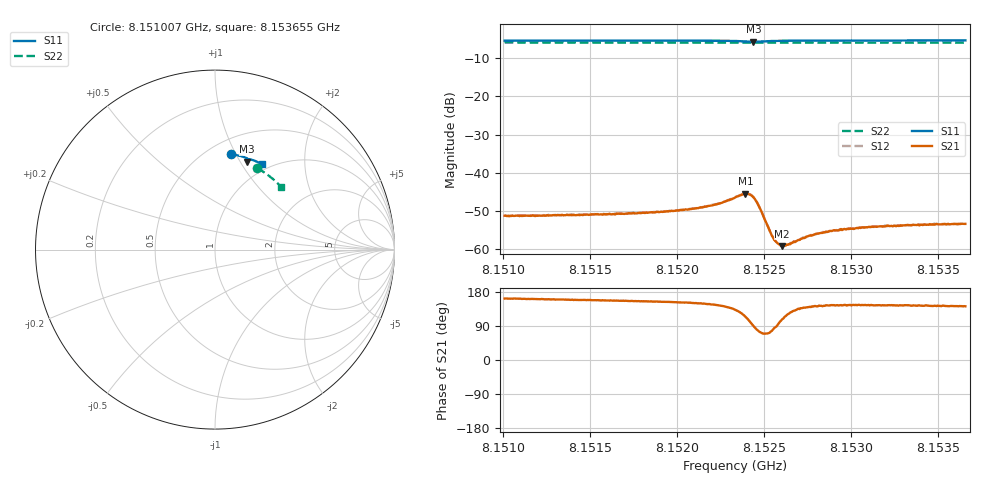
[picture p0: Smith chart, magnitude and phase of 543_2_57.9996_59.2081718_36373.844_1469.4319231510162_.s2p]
#  HZ  S  RI  R  50.00
! Rohde & Schwarz Vector Network Analyzer
! Rohde-Schwarz,ZNB20-2Port,1311601062101988,3.16
! Created: UTC 3/21/2024, 1:14:41 AM
! freq[Hz]  re:S11  im:S11  re:S21  im:S21  re:S12  im:S12  re:S22  im:S22
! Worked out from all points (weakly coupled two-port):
!   401 points, 8.151007 GHz to 8.153655 GHz, reference 50 ohm
!   highest |S21| = -45.56 dB at 8.152391 GHz (marker M1); lowest = -59.2 dB at 8.152602 GHz (marker M2)
!   lowest |S11| = -5.7 dB at 8.152437 GHz (marker M3), VSWR 3.18, Z = 39.9 + j53.6 ohm
!   |S11| at or under -10 dB: nowhere
!   |S22| runs from -5.9 to -5.8 dB; largest |S21 - S12| = 0.00012
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8.1510074e9  0.0913 0.5316  -0.00259 0.000832  -0.00258 0.000903  0.2347 0.454
8.1514508e9  0.122 0.526  -0.00259 0.00104  -0.00258 0.00109  0.2593 0.4397
8.1518942e9  0.1529 0.5184  -0.00272 0.00134  -0.00271 0.0014  0.283 0.4241
8.1520663e9  0.1654 0.5144  -0.00289 0.00159  -0.00289 0.00165  0.2921 0.4176
8.1521523e9  0.172 0.5118  -0.00304 0.00183  -0.00298 0.0019  0.2964 0.4144
8.1522516e9  0.1801 0.5074  -0.00321 0.0024  -0.00318 0.00244  0.3015 0.4105
8.152331e9  0.1862 0.501  -0.0032 0.00345  -0.00318 0.00352  0.3055 0.4072
8.1523906e9  0.1867 0.4924  -0.00217 0.00481  -0.00211 0.00483  0.3082 0.4046
8.152417e9  0.1832 0.4894  -0.000971 0.00506  -0.000957 0.00511  0.3093 0.4034
8.1524369e9  0.1795 0.4896  -1.36e-05 0.00474  5.38e-05 0.00479  0.31 0.4028
8.1524501e9  0.1774 0.491  0.000506 0.00427  0.000568 0.0043  0.3107 0.4024
8.15247e9  0.1759 0.4941  0.000931 0.00344  0.000961 0.00346  0.3115 0.4018
8.1525295e9  0.18 0.5017  0.000537 0.00165  0.000557 0.00165  0.3147 0.3998
8.1525494e9  0.1823 0.5029  0.000234 0.00139  0.000279 0.0014  0.3156 0.3988
8.1525759e9  0.1854 0.5036  -5.41e-05 0.00118  -2.37e-05 0.00116  0.3171 0.3979
8.1526023e9  0.1881 0.5039  -0.000329 0.00104  -0.000308 0.00105  0.3184 0.3969
8.1526354e9  0.1915 0.5036  -0.000583 0.000966  -0.000581 0.000987  0.32 0.3954
8.1527744e9  0.2032 0.5012  -0.00118 0.00093  -0.00115 0.000961  0.3269 0.3896
8.1528869e9  0.2116 0.4985  -0.0014 0.000981  -0.00136 0.00103  0.3322 0.385
8.1529862e9  0.2186 0.4958  -0.00149 0.00104  -0.00151 0.00107  0.337 0.3806
8.1532178e9  0.234 0.4893  -0.00163 0.00115  -0.00159 0.0012  0.3477 0.3706
8.1536546e9  0.2617 0.4759  -0.00166 0.00132  -0.00166 0.00136  0.3669 0.3507
